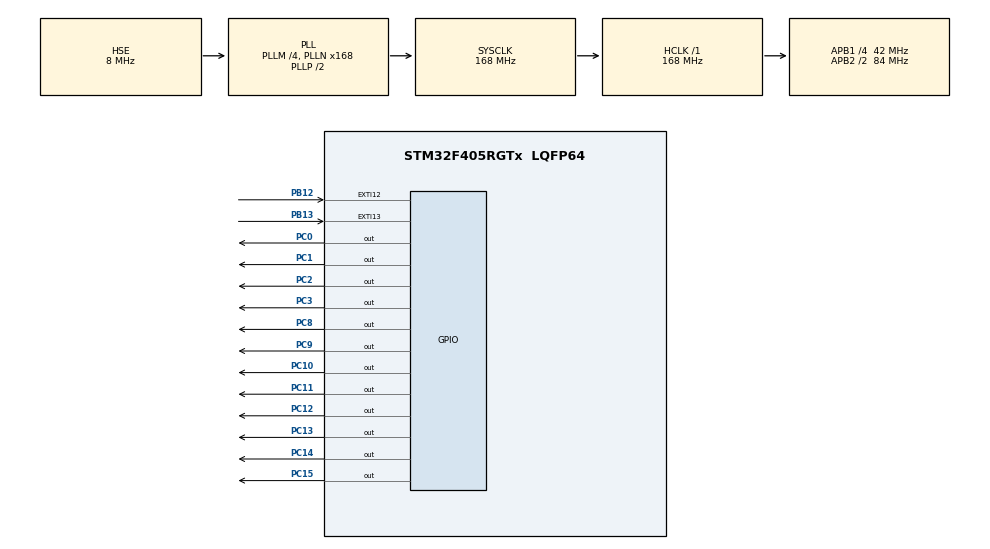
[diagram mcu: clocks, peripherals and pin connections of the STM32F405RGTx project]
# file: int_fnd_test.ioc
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Mcu.Family=STM32F4
Mcu.Name=STM32F405RGTx
Mcu.Package=LQFP64
NVIC.EXTI15_10_IRQn=true\:0\:0\:false\:false\:true\:true\:true
NVIC.PriorityGroup=NVIC_PRIORITYGROUP_4
PA13.Mode=Serial_Wire
PA13.Signal=SYS_JTMS-SWDIO
PA14.Mode=Serial_Wire
PA14.Signal=SYS_JTCK-SWCLK
PB12.Signal=GPXTI12
PB13.Signal=GPXTI13
PC0.Signal=GPIO_Output
PC1.Signal=GPIO_Output
PC10.Signal=GPIO_Output
PC11.Signal=GPIO_Output
PC12.Signal=GPIO_Output
PC13-ANTI_TAMP.Signal=GPIO_Output
PC14-OSC32_IN.Signal=GPIO_Output
PC15-OSC32_OUT.Signal=GPIO_Output
PC2.Signal=GPIO_Output
PC3.Signal=GPIO_Output
PC8.Signal=GPIO_Output
PC9.Signal=GPIO_Output
PH0-OSC_IN.Mode=HSE-External-Oscillator
PH0-OSC_IN.Signal=RCC_OSC_IN
PH1-OSC_OUT.Mode=HSE-External-Oscillator
PH1-OSC_OUT.Signal=RCC_OSC_OUT
ProjectManager.HeapSize=0x200
ProjectManager.StackSize=0x400
ProjectManager.TargetToolchain=EWARM V8.32
RCC.48MHZClocksFreq_Value=84000000
RCC.AHBFreq_Value=168000000
RCC.APB1CLKDivider=RCC_HCLK_DIV4
RCC.APB1Freq_Value=42000000
RCC.APB1TimFreq_Value=84000000
RCC.APB2CLKDivider=RCC_HCLK_DIV2
RCC.APB2Freq_Value=84000000
RCC.APB2TimFreq_Value=168000000
RCC.CortexFreq_Value=168000000
RCC.HCLKFreq_Value=168000000
RCC.HSE_VALUE=8000000
RCC.HSI_VALUE=16000000
RCC.LSE_VALUE=32768
RCC.PLLM=4
RCC.PLLN=168
RCC.PLLSourceVirtual=RCC_PLLSOURCE_HSE
RCC.SYSCLKFreq_VALUE=168000000
RCC.SYSCLKSource=RCC_SYSCLKSOURCE_PLLCLK
RCC.VCOOutputFreq_Value=336000000
board=custom

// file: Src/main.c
/* USER CODE BEGIN Header */
/**
  ******************************************************************************
  * @file           : main.c
  * @brief          : Main program body
  ******************************************************************************
  * @attention
  *
  * <h2><center>&copy; Copyright (c) 2020 STMicroelectronics.
  * All rights reserved.</center></h2>
  *
  * This software component is licensed by ST under BSD 3-Clause license,
  * the "License"; You may not use this file except in compliance with the
  * License. You may obtain a copy of the License at:
  *                        opensource.org/licenses/BSD-3-Clause
  *
  ******************************************************************************
  */
/* USER CODE END Header */

#include "main.h"
#include "gpio.h"

/* USER CODE BEGIN PV */
uint32_t Time_s = 0;
uint32_t Time_l = 0;
uint32_t LED[] = {1,2,4,8};
/* USER CODE END PV */

void SystemClock_Config(void);

int main(void)
{

  /* MCU Configuration--------------------------------------------------------*/

  /* Reset of all peripherals, Initializes the Flash interface and the Systick. */
  HAL_Init();

  /* Configure the system clock */
  SystemClock_Config();

  /* Initialize all configured peripherals */
  MX_GPIO_Init();

  /* Infinite loop */
  /* USER CODE BEGIN WHILE */
  unsigned int FND_DATA_TBL [] = {0X3F00, 0X0600, 0X5B00, 0X4F00, 0X6600, 0X6D00,
                                  0X7C00, 0X0700, 0X7F00, 0X6700, 0X7700, 0X7C00,
                                  0X3900, 0X5E00, 0X7900, 0X7100};
  unsigned char cnt = 0;
  int index = 0;
  while (1)
  {
    HAL_GPIO_WritePin(GPIOC, FND_DATA_TBL[cnt], GPIO_PIN_SET);
    HAL_Delay(500);
    HAL_GPIO_WritePin(GPIOC, FND_DATA_TBL[cnt], GPIO_PIN_RESET);
    if(Time_s == 0)
    {
      cnt++;
      if(cnt > 16) cnt = 0;
    }

    if(Time_l == 0)
    {
      for(int i = 0; i < 4; i++)
      {
          if(i == index)
          {
              HAL_GPIO_WritePin(GPIOC, LED[i], GPIO_PIN_SET);
          }
          else
          {
              HAL_GPIO_WritePin(GPIOC, LED[i], GPIO_PIN_RESET);
          }
      }
      HAL_Delay(500);
      index++;
      if(index > 3)
      {
        index = 0;
      }
    }

    /* USER CODE END WHILE */

  }
}

void SystemClock_Config(void)
{
  RCC_OscInitTypeDef RCC_OscInitStruct = {0};
  RCC_ClkInitTypeDef RCC_ClkInitStruct = {0};

  /** Configure the main internal regulator output voltage
  */
  __HAL_RCC_PWR_CLK_ENABLE();
  __HAL_PWR_VOLTAGESCALING_CONFIG(PWR_REGULATOR_VOLTAGE_SCALE1);
  /** Initializes the CPU, AHB and APB busses clocks
  */
  RCC_OscInitStruct.OscillatorType = RCC_OSCILLATORTYPE_HSE;
  RCC_OscInitStruct.HSEState = RCC_HSE_ON;
  RCC_OscInitStruct.PLL.PLLState = RCC_PLL_ON;
  RCC_OscInitStruct.PLL.PLLSource = RCC_PLLSOURCE_HSE;
  RCC_OscInitStruct.PLL.PLLM = 4;
  RCC_OscInitStruct.PLL.PLLN = 168;
  RCC_OscInitStruct.PLL.PLLP = RCC_PLLP_DIV2;
  RCC_OscInitStruct.PLL.PLLQ = 4;
  if (HAL_RCC_OscConfig(&RCC_OscInitStruct) != HAL_OK)
  {
    Error_Handler();
  }
  /** Initializes the CPU, AHB and APB busses clocks
  */
  RCC_ClkInitStruct.ClockType = RCC_CLOCKTYPE_HCLK|RCC_CLOCKTYPE_SYSCLK
                              |RCC_CLOCKTYPE_PCLK1|RCC_CLOCKTYPE_PCLK2;
  RCC_ClkInitStruct.SYSCLKSource = RCC_SYSCLKSOURCE_PLLCLK;
  RCC_ClkInitStruct.AHBCLKDivider = RCC_SYSCLK_DIV1;
  RCC_ClkInitStruct.APB1CLKDivider = RCC_HCLK_DIV4;
  RCC_ClkInitStruct.APB2CLKDivider = RCC_HCLK_DIV2;

  if (HAL_RCC_ClockConfig(&RCC_ClkInitStruct, FLASH_LATENCY_5) != HAL_OK)
  {
    Error_Handler();
  }
}

/* USER CODE BEGIN 4 */
void HAL_GPIO_EXTI_Callback(uint16_t GPIO_Pin)
{
  if(GPIO_Pin == GPIO_PIN_13)
  {
    if(Time_s == 0) Time_s = 1;
    else if(Time_s == 1) Time_s = 0;
  }
  if(GPIO_Pin == GPIO_PIN_12)
  {
    if(Time_l == 0) Time_l = 1;
    else if(Time_l == 1) Time_l = 0;
  }
}
/* USER CODE END 4 */

void Error_Handler(void)
{
}

/************************ (C) COPYRIGHT STMicroelectronics *****END OF FILE****/
